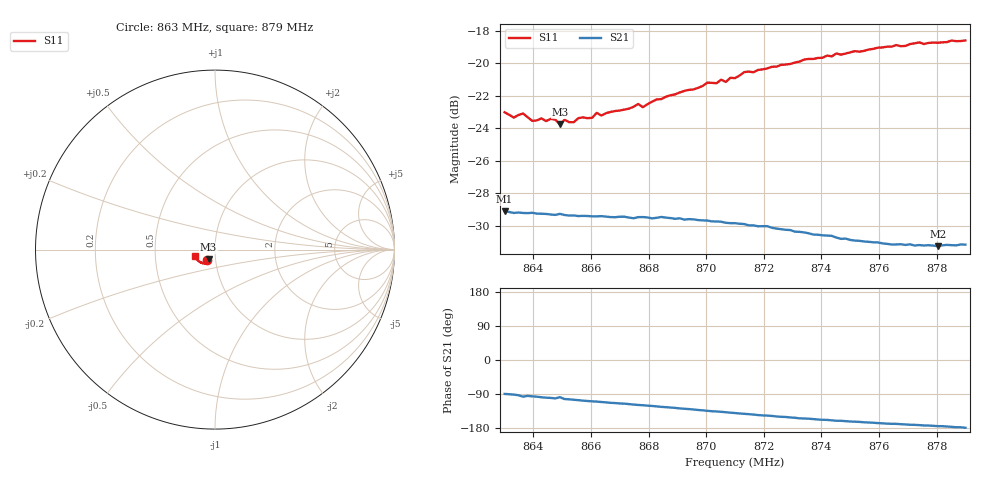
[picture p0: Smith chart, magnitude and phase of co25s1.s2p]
# HZ S RI R 50
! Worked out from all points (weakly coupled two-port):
!   101 points, 863 MHz to 879 MHz, reference 50 ohm
!   highest |S21| = -29.10 dB at 863 MHz (marker M1); lowest = -31.2 dB at 878.04 MHz (marker M2)
!   lowest |S11| = -23.8 dB at 864.92 MHz (marker M3), VSWR 1.14, Z = 46.3 - j5.01 ohm
!   |S11| at or under -10 dB: start of sweep to end of sweep
!   S12 and S22 are empty: the file has one direction only
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8.63e8  -0.0435 -0.0557  0.000333 -0.0351  0 0  0 0
8.6332e8  -0.0417 -0.0538  -0.000783 -0.0347  0 0  0 0
8.6364e8  -0.0413 -0.0567  -0.00409 -0.0344  0 0  0 0
8.6396e8  -0.0381 -0.0546  -0.00359 -0.0345  0 0  0 0
8.6476e8  -0.0366 -0.0562  -0.00672 -0.0335  0 0  0 0
8.6492e8  -0.036 -0.0539  -0.00487 -0.0341  0 0  0 0
8.6508e8  -0.0342 -0.0577  -0.0077 -0.0333  0 0  0 0
8.654e8  -0.0329 -0.0571  -0.00877 -0.0329  0 0  0 0
8.6572e8  -0.0341 -0.0591  -0.0101 -0.0324  0 0  0 0
8.6604e8  -0.0345 -0.0586  -0.0111 -0.032  0 0  0 0
8.662e8  -0.0347 -0.0613  -0.0114 -0.0319  0 0  0 0
8.6636e8  -0.0351 -0.0595  -0.0121 -0.0317  0 0  0 0
8.6764e8  -0.0359 -0.0658  -0.0161 -0.0296  0 0  0 0
8.678e8  -0.0339 -0.065  -0.0165 -0.0294  0 0  0 0
8.6844e8  -0.0363 -0.0686  -0.0187 -0.028  0 0  0 0
8.7004e8  -0.0446 -0.0749  -0.0228 -0.0236  0 0  0 0
8.71e8  -0.0489 -0.0756  -0.0247 -0.0207  0 0  0 0
8.7132e8  -0.0529 -0.0776  -0.0253 -0.0198  0 0  0 0
8.7372e8  -0.0707 -0.0751  -0.0272 -0.0121  0 0  0 0
8.7644e8  -0.0952 -0.0598  -0.0272 -0.00559  0 0  0 0
8.7804e8  -0.1057 -0.0467  -0.0273 -0.00261  0 0  0 0
8.79e8  -0.112 -0.0358  -0.0277 -0.000586  0 0  0 0
